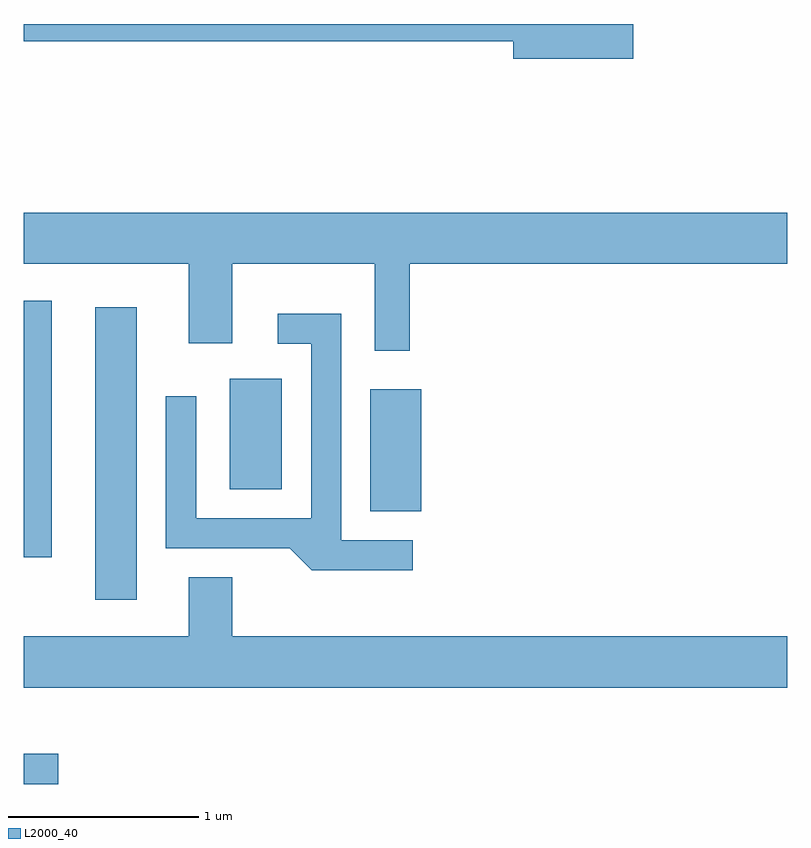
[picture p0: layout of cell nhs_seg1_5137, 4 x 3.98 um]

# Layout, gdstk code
import gdstk
lib = gdstk.Library(unit=1e-6, precision=1e-09)
def R(c, l, rs):  # rectangles x0, y0, x1, y1
    for r in rs: c.add(gdstk.rectangle(r[:2], r[2:], *l))
def P(c, l, *ps):  # polygons
    for p in ps: c.add(gdstk.Polygon(p, *l))
L2000_40 = (2000, 40)

nhs_seg1_5137 = lib.new_cell('nhs_seg1_5137')
R(nhs_seg1_5137, L2000_40, [(339.611,905.731,339.793,905.889), (339.986,906.696,340.204,908.229), (339.611,906.918,339.759,908.263), (341.426,907.161,341.694,907.799), (340.691,907.276,340.964,907.854)])
P(nhs_seg1_5137, L2000_40, [(342.804,909.712),(339.611,909.712),(339.611,909.621),(342.176,909.621),(342.176,909.531),(342.804,909.531)],
  [(341.634,908.456),(343.611,908.456),(343.611,908.724),(339.611,908.724),(339.611,908.456),(340.476,908.456),(340.476,908.041),(340.704,908.041),(340.704,908.456),(341.451,908.456),(341.451,908.001),(341.634,908.001)],
  [(341.648,907.009),(341.274,907.009),(341.274,908.194),(340.943,908.194),(340.943,908.036),(341.116,908.036),(341.116,907.124),(340.514,907.124),(340.514,907.763),(340.356,907.763),(340.356,906.966),(341.004,906.966),(341.119,906.851),(341.648,906.851)],
  [(343.611,906.504),(340.704,906.504),(340.704,906.814),(340.476,906.814),(340.476,906.504),(339.611,906.504),(339.611,906.236),(343.611,906.236)])

lib.write_gds('nhs_seg1_5137.gds')
